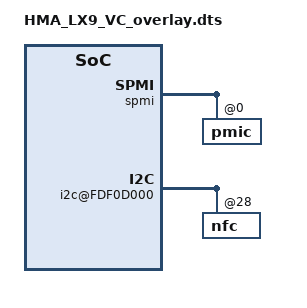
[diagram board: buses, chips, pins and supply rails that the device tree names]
/**
 * Copyright (C) 2014 Hisilicon Ltd.
 *
 *  This program is free software; you can redistribute it and/or modify
 *  it under the terms of the GNU General Public License version 2 as
 *  publishhed by the Free Software Foundation.
 */

/dts-v1/;
/plugin/;
/include/ "HMA_LX9_VB_overlay.dtsi"
/include/ "HMA_LX9_VC_pin.dtsi"
/include/ "HMA_LX9_VC_modem_pin.dtsi"

/ {
    board_id = <8408>;
};

	&rootparam{
		hisi,boardid = <8 4 0 8>;
		hisi,boardname = "HMA_LX9_VC";
		hisi,modem_id = <0x37001800>;
	};


&spmi {
    pmic@0 {
        sim0 {
            pmu_ldo12_pull_down = <0>;
        };

        sim1 {
            pmu_ldo12_pull_down = <0>;
        };
    };
};


	&sensorhub_io_power{
		use_ldo12 = <1>;
	};

	&sensorhub{
		light{
			als1{
				als_phone_version = <12>;
			};
		};
		proximity{
			ps1{
				pwindows_value=<105>;
				pwave_value=<51>;
				threshold_value=<60>;
				max_oily_add_pdata=<280>;
			};
		};
	};
	&hisi_usb {
		usb_firmware_es = <0>;
	};
	&jpu {
		fpga_flag = <0>;
		platform-names = "dss_v501";
		// jpu decoder base; top base; cvdr base; smmu base;  media1 crg;peri_crg,pmctrl,sctrl
		reg = <0x0 0xe8301000 0x0 0x1000>, <0x0 0xe8304000 0x0 0x1000>, <0x0 0xe8306000 0x0 0x2000>, <0x0 0xe8320000 0x0 0x20000>, <0x0 0xe87ff000 0x0 0x1000>, <0x0 0xfff35000 0x0 0x1000>, <0x0 0xfff31000 0x0 0x1000>,<0x0 0xfff0a000 0x0 0x1000>;
	};

	&amba {
            i2c@FDF0D000 {
		secure-mode = <1>;
                    nfc:nfc@28{
                            nfc_chip_type = "pn80t";
                            nfc_ese_type = "p61";
			    nfc_ese_num = <0x2>;
                    };
            };
	    gpio@e8a0e000 {
			secure-mode = <1>;
	    };
	};
